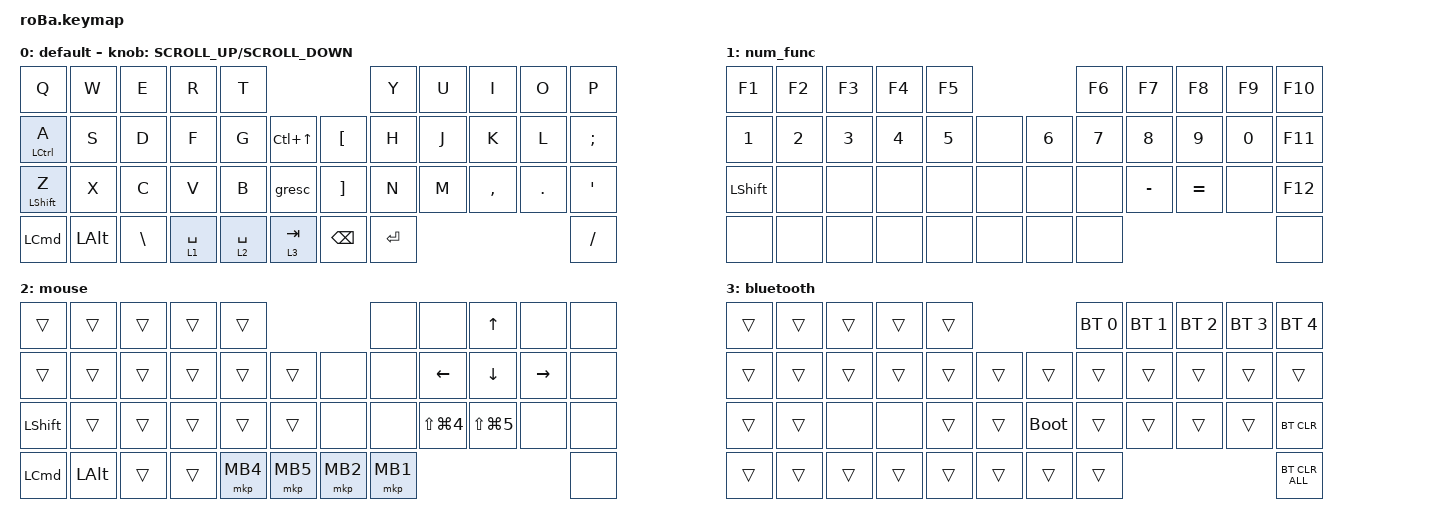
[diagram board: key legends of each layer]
#include <behaviors.dtsi>
#include <dt-bindings/zmk/bt.h>
#include <dt-bindings/zmk/keys.h>
#include <dt-bindings/zmk/pointing.h>

&mt {
    flavor = "balanced";
    quick-tap-ms = <0>;
};

&trackball {
    automouse-layer = <4>;
    scroll-layers = <5>;

    // arrows {
    //     layers = <3>;
    //     bindings =
    //         <&kp RIGHT_ARROW>,
    //         <&kp LEFT_ARROW>,
    //         <&kp UP_ARROW>,
    //         <&kp DOWN_ARROW>;
    //     tick = <10>;
    //     wait-ms = <5>;
    //     tap-ms = <5>;
    // };
};

/ {
    combos { compatible = "zmk,combos"; };

    macros {
        to_layer_0: to_layer_0 {
            compatible = "zmk,behavior-macro-one-param";
            #binding-cells = <1>;
            bindings = <&to 0 &macro_param_1to1 &kp MACRO_PLACEHOLDER>;
            label = "TO_LAYER_0";
        };
    };

    behaviors {
        lt_to_layer_0: lt_to_layer_0 {
            compatible = "zmk,behavior-hold-tap";
            label = "LAYER_TAP_TO_0";
            bindings = <&mo>, <&to_layer_0>;

            #binding-cells = <2>;
            tapping-term-ms = <200>;
        };
    };

    keymap {
        compatible = "zmk,keymap";

        default {
            bindings = <
&kp Q               &kp W         &kp E          &kp R        &kp T                                                 &kp Y      &kp U  &kp I      &kp O    &kp P
&mt LEFT_CONTROL A  &kp S         &kp D          &kp F        &kp G        &kp LC(UP_ARROW)      &kp LEFT_BRACKET   &kp H      &kp J  &kp K      &kp L    &kp SEMICOLON
&mt LEFT_SHIFT Z    &kp X         &kp C          &kp V        &kp B        &gresc                &kp RIGHT_BRACKET  &kp N      &kp M  &kp COMMA  &kp DOT  &kp SINGLE_QUOTE
&kp LCMD            &kp LEFT_ALT  &kp BACKSLASH  &lt 1 SPACE  &lt 2 SPACE  &lt 3 TAB             &kp BACKSPACE      &kp ENTER                             &kp SLASH
            >;

            sensor-bindings = <&inc_dec_kp K_SCROLL_UP K_SCROLL_DOWN>;
        };

        num_func {
            bindings = <
&kp F1          &kp F2  &kp F3  &kp F4  &kp F5                     &kp F6  &kp F7     &kp F8     &kp F9  &kp F10
&kp N1          &kp N2  &kp N3  &kp N4  &kp N5  &none      &kp N6  &kp N7  &kp N8     &kp N9     &kp N0  &kp F11
&kp LEFT_SHIFT  &none   &none   &none   &none   &none      &none   &none   &kp MINUS  &kp EQUAL  &none   &kp F12
&none           &none   &none   &none   &none   &none      &none   &none                                 &none
            >;
        };

        mouse {
            bindings = <
&trans          &trans        &trans  &trans  &trans                            &none     &none                 &kp UP_ARROW          &none            &none
&trans          &trans        &trans  &trans  &trans    &trans        &none     &none     &kp LEFT_ARROW        &kp DOWN_ARROW        &kp RIGHT_ARROW  &none
&kp LEFT_SHIFT  &trans        &trans  &trans  &trans    &trans        &none     &none     &kp LS(LG(NUMBER_4))  &kp LS(LG(NUMBER_5))  &none            &none
&kp LCMD        &kp LEFT_ALT  &trans  &trans  &mkp MB4  &mkp MB5      &mkp MB2  &mkp MB1                                                               &none
            >;
        };

        bluetooth {
            bindings = <
&trans  &trans  &trans  &trans  &trans                           &bt BT_SEL 0  &bt BT_SEL 1  &bt BT_SEL 2  &bt BT_SEL 3  &bt BT_SEL 4
&trans  &trans  &trans  &trans  &trans  &trans      &trans       &trans        &trans        &trans        &trans        &trans
&trans  &trans  &none   &none   &trans  &trans      &bootloader  &trans        &trans        &trans        &trans        &bt BT_CLR
&trans  &trans  &trans  &trans  &trans  &trans      &trans       &trans                                                  &bt BT_CLR_ALL
            >;
        };
    };
};
